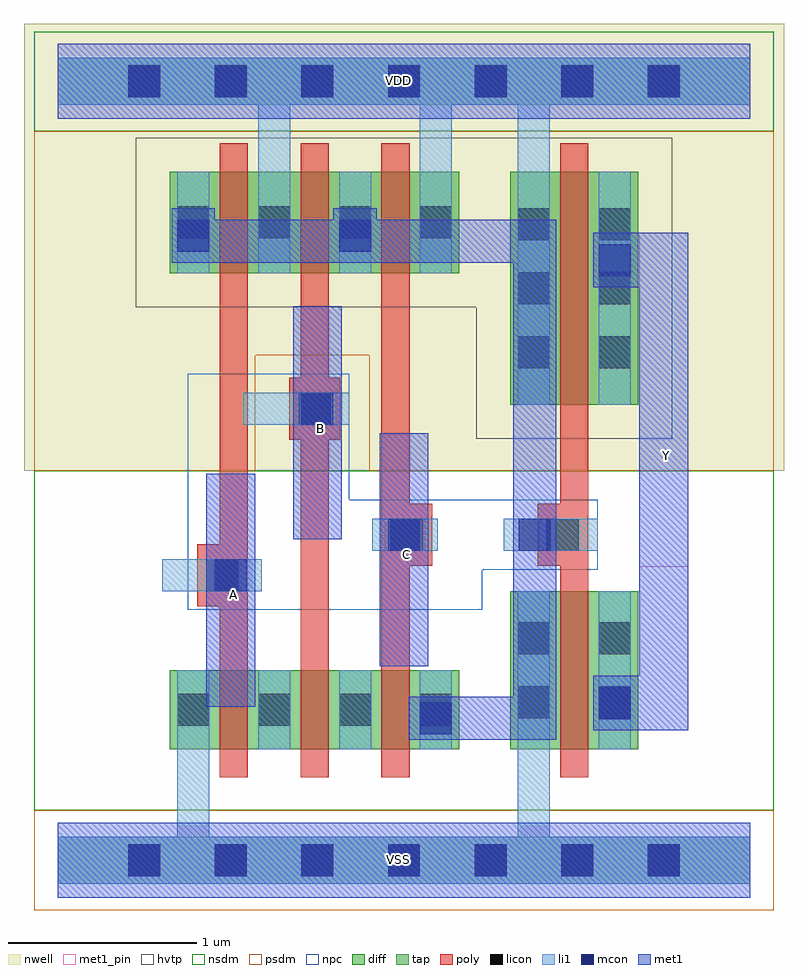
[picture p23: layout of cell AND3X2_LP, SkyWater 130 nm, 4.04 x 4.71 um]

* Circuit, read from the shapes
.subckt AND3X2_LP A B C VDD VSS Y
XM1 n1 A VSS VSS sky130_fd_pr__nfet_01v8 w=0.42 l=0.15
XM2 n2 B n1 VSS sky130_fd_pr__nfet_01v8 w=0.42 l=0.15
XM3 n3 C n2 VSS sky130_fd_pr__nfet_01v8 w=0.42 l=0.15
XM4 Y n3 VSS VSS sky130_fd_pr__nfet_01v8 w=0.84 l=0.15
XM5 VDD A n3 VDD sky130_fd_pr__pfet_01v8_hvt w=0.54 l=0.15
XM6 n3 B VDD VDD sky130_fd_pr__pfet_01v8_hvt w=0.54 l=0.15
XM7 VDD C n3 VDD sky130_fd_pr__pfet_01v8_hvt w=0.54 l=0.15
XM8 Y n3 VDD VDD sky130_fd_pr__pfet_01v8_hvt w=1.24 l=0.15
.ends

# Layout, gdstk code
from math import pi, radians
import gdstk
lib = gdstk.Library(unit=1e-6, precision=1e-09)
def R(c, l, rs):  # rectangles x0, y0, x1, y1
    for r in rs: c.add(gdstk.rectangle(r[:2], r[2:], *l))
def A(c, l, x, y, w, h, nx, ny, dx, dy):  # array of equal rectangles
    R(c, l, [(x+i*dx, y+j*dy, x+i*dx+w, y+j*dy+h) for i in range(nx) for j in range(ny)])
def P(c, l, *ps):  # polygons
    for p in ps: c.add(gdstk.Polygon(p, *l))
nwell = (64, 20)
diff = (65, 20)
tap = (65, 44)
poly = (66, 20)
licon = (66, 44)
li1 = (67, 20)
mcon = (67, 44)
met1_pin = (68, 16)
met1 = (68, 20)
hvtp = (78, 44)
nsdm = (93, 44)
psdm = (94, 20)
npc = (95, 20)

l1m1_c_cdns_752016907001 = lib.new_cell('L1M1_C_CDNS_752016907001')
R(l1m1_c_cdns_752016907001, li1, [(-0.085,-0.165,0.085,0.165)])
R(l1m1_c_cdns_752016907001, mcon, [(-0.085,-0.085,0.085,0.085)])
R(l1m1_c_cdns_752016907001, met1, [(-0.115,-0.145,0.115,0.145)])

pyl1con_c_cdns_752016907 = lib.new_cell('PYL1CON_C_CDNS_752016907000')
R(pyl1con_c_cdns_752016907, poly, [(-0.135,-0.165,0.135,0.165)])
R(pyl1con_c_cdns_752016907, licon, [(-0.085,-0.085,0.085,0.085)])
R(pyl1con_c_cdns_752016907, npc, [(-0.185,-0.185,0.185,0.185)])

l1m1_c_cdns_752016907003 = lib.new_cell('L1M1_C_CDNS_752016907003')
R(l1m1_c_cdns_752016907003, li1, [(-0.165,-0.085,0.165,0.085)])
R(l1m1_c_cdns_752016907003, mcon, [(-0.085,-0.085,0.085,0.085)])
R(l1m1_c_cdns_752016907003, met1, [(-0.115,-0.145,0.115,0.145)])

and3x2_lp = lib.new_cell('AND3X2_LP')
R(and3x2_lp, nwell, [(-0.18,2.07,3.86,4.445)])
R(and3x2_lp, diff, [(0.595,0.59,2.135,1.01), (2.405,0.59,3.085,1.43), (2.405,2.42,3.085,3.66), (0.595,3.12,2.135,3.66)])
A(and3x2_lp, poly, 0.86, 0.44, 0.15, 3.37, 3, 1, 0.43, 0)
R(and3x2_lp, poly, [(2.67,0.44,2.82,3.81)])
A(and3x2_lp, licon, 0.375, -0.085, 0.17, 0.17, 7, 2, 0.46, 4.14)
A(and3x2_lp, licon, 0.635, 0.715, 0.17, 0.17, 4, 2, 0.43, 2.59)
A(and3x2_lp, licon, 2.445, 2.615, 0.17, 0.17, 1, 3, 0, 0.34)
A(and3x2_lp, licon, 2.875, 2.615, 0.17, 0.17, 1, 3, 0, 0.34)
R(and3x2_lp, licon, [(2.445,0.755,2.615,0.925), (2.875,0.755,3.045,0.925), (2.445,1.095,2.615,1.265), (2.875,1.095,3.045,1.265)])
A(and3x2_lp, li1, 1.065, 0.59, 0.17, 0.42, 3, 1, 0.43, 0)
R(and3x2_lp, li1, [(2.875,0.59,3.045,1.43), (2.875,2.42,3.045,3.66), (0.635,3.12,0.805,3.66), (1.495,3.12,1.665,3.66)])
P(and3x2_lp, li1, [(3.68,4.265),(0,4.265),(0,4.015),(1.065,4.015),(1.065,3.12),(1.235,3.12),(1.235,4.015),(1.925,4.015),(1.925,3.12),(2.095,3.12),(2.095,4.015),(2.445,4.015),(2.445,2.42),(2.615,2.42),(2.615,4.015),(3.68,4.015)],
  [(3.68,0.125),(2.615,0.125),(2.615,1.43),(2.445,1.43),(2.445,0.125),(0.805,0.125),(0.805,1.01),(0.635,1.01),(0.635,0.125),(0,0.125),(0,-0.125),(3.68,-0.125)])
A(and3x2_lp, mcon, 0.375, -0.085, 0.17, 0.17, 7, 2, 0.46, 4.14)
R(and3x2_lp, met1_pin, [(0.79,0.815,1.05,2.055), (1.71,1.03,1.97,2.27), (3.09,1.56,3.35,3.335), (1.25,1.705,1.51,2.945)])
P(and3x2_lp, met1, [(2.65,3.405),(0.605,3.405),(0.605,3.175),(2.42,3.175),(2.42,0.87),(1.945,0.87),(1.945,0.64),(2.65,0.64)],
  [(3.35,3.335),(2.96,3.335),(2.96,3.23),(2.93,3.23),(2.93,3.045),(3.09,3.045),(3.09,0.98),(2.96,0.98),(2.96,0.865),(2.93,0.865),(2.93,0.69),(3.35,0.69)])
P(and3x2_lp, hvtp, [(3.265,3.84),(0.415,3.84),(0.415,2.94),(2.225,2.94),(2.225,2.24),(3.265,2.24)])
R(and3x2_lp, nsdm, [(-0.125,0.265,3.805,2.07), (-0.125,3.875,3.805,4.405)])
R(and3x2_lp, psdm, [(-0.125,-0.265,3.805,0.265)])
P(and3x2_lp, psdm, [(3.805,3.875),(-0.125,3.875),(-0.125,2.07),(1.05,2.07),(1.05,2.685),(1.655,2.685),(1.655,2.07),(3.805,2.07)])
P(and3x2_lp, npc, [(2.87,1.915),(1.55,1.915),(1.55,2.585),(0.69,2.585),(0.69,1.33),(2.255,1.33),(2.255,1.545),(2.87,1.545)])
and3x2_lp.add(gdstk.FlexPath([(2.02,1.73),(1.67,1.73)], 0.17, ends="flush", simple_path=True, layer=67, datatype=20))  # li1
and3x2_lp.add(gdstk.FlexPath([(1.55,2.4),(0.985,2.4)], 0.17, ends="flush", simple_path=True, layer=67, datatype=20))  # li1
and3x2_lp.add(gdstk.FlexPath([(0.555,1.515),(1.06,1.515)], 0.17, ends="flush", simple_path=True, layer=67, datatype=20))  # li1
and3x2_lp.add(gdstk.FlexPath([(2.535,1.73),(2.87,1.73)], 0.17, ends="flush", simple_path=True, layer=67, datatype=20))  # li1
and3x2_lp.add(gdstk.FlexPath([(0,4.14),(3.68,4.14)], 0.4, ends="flush", simple_path=True, layer=68, datatype=20))  # met1
and3x2_lp.add(gdstk.FlexPath([(0,0),(3.68,0)], 0.4, ends="flush", simple_path=True, layer=68, datatype=20))  # met1
and3x2_lp.add(gdstk.FlexPath([(1.38,1.705),(1.38,2.945)], 0.26, ends="flush", simple_path=True, layer=68, datatype=20))  # met1
and3x2_lp.add(gdstk.FlexPath([(1.84,1.03),(1.84,2.27)], 0.26, ends="flush", simple_path=True, layer=68, datatype=20))  # met1
and3x2_lp.add(gdstk.FlexPath([(0.92,0.815),(0.92,2.055)], 0.26, ends="flush", simple_path=True, layer=68, datatype=20))  # met1
and3x2_lp.add(gdstk.FlexPath([(0,0),(3.68,0)], 0.4, ends="flush", simple_path=True, layer=68, datatype=16))  # met1_pin
and3x2_lp.add(gdstk.FlexPath([(0,4.14),(3.68,4.14)], 0.4, ends="flush", simple_path=True, layer=68, datatype=16))  # met1_pin
and3x2_lp.add(gdstk.FlexPath([(0,4.14),(3.68,4.14)], 0.25, ends="flush", simple_path=True, layer=65, datatype=44))  # tap
and3x2_lp.add(gdstk.FlexPath([(0,0),(3.68,0)], 0.25, ends="flush", simple_path=True, layer=65, datatype=44))  # tap
and3x2_lp.add(gdstk.Reference(l1m1_c_cdns_752016907001, (2.96,0.835)))
and3x2_lp.add(gdstk.Reference(l1m1_c_cdns_752016907001, (2.96,3.19)))
and3x2_lp.add(gdstk.Reference(l1m1_c_cdns_752016907001, (0.72,3.32)))
and3x2_lp.add(gdstk.Reference(l1m1_c_cdns_752016907001, (1.58,3.32)))
and3x2_lp.add(gdstk.Reference(pyl1con_c_cdns_752016907, (1.365,2.4)))
and3x2_lp.add(gdstk.Reference(pyl1con_c_cdns_752016907, (1.855,1.73)))
and3x2_lp.add(gdstk.Reference(pyl1con_c_cdns_752016907, (0.875,1.515)))
and3x2_lp.add(gdstk.Reference(pyl1con_c_cdns_752016907, (2.685,1.73)))
and3x2_lp.add(gdstk.Reference(l1m1_c_cdns_752016907003, (0.92,1.515), x_reflection=True))
and3x2_lp.add(gdstk.Reference(l1m1_c_cdns_752016907003, (1.84,1.73), x_reflection=True))
and3x2_lp.add(gdstk.Reference(l1m1_c_cdns_752016907003, (1.38,2.4), x_reflection=True))
and3x2_lp.add(gdstk.Reference(l1m1_c_cdns_752016907003, (2.535,1.73)))
and3x2_lp.add(gdstk.Reference(l1m1_c_cdns_752016907003, (2.01,0.755), rotation=3*pi/2))
and3x2_lp.add(gdstk.Label('VDD', (1.811,4.145), layer=68, texttype=5))
and3x2_lp.add(gdstk.Label('B', (1.395,2.295), layer=68, texttype=5))
and3x2_lp.add(gdstk.Label('C', (1.855,1.625), layer=68, texttype=5))
and3x2_lp.add(gdstk.Label('A', (0.935,1.41), layer=68, texttype=5))
and3x2_lp.add(gdstk.Label('Y', (3.235,2.15), layer=68, texttype=5))
and3x2_lp.add(gdstk.Label('VSS', (1.81,0.005), layer=68, texttype=5))

lib.write_gds('AND3X2_LP.gds')
